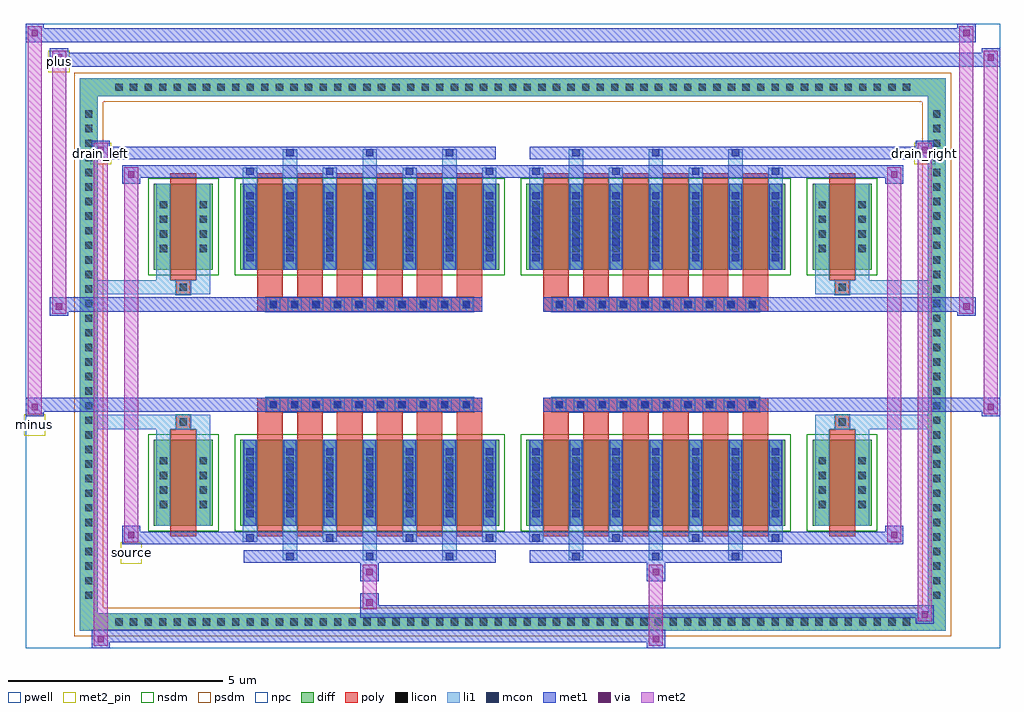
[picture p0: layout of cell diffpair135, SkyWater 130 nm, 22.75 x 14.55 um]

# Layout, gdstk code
import gdstk
lib = gdstk.Library(unit=1e-6, precision=5e-09)
def R(c, l, rs):  # rectangles x0, y0, x1, y1
    for r in rs: c.add(gdstk.rectangle(r[:2], r[2:], *l))
def A(c, l, x, y, w, h, nx, ny, dx, dy):  # array of equal rectangles
    R(c, l, [(x+i*dx, y+j*dy, x+i*dx+w, y+j*dy+h) for i in range(nx) for j in range(ny)])
def P(c, l, *ps):  # polygons
    for p in ps: c.add(gdstk.Polygon(p, *l))
pwell = (64, 44)
diff = (65, 20)
poly = (66, 20)
licon = (66, 44)
li1 = (67, 20)
mcon = (67, 44)
met1 = (68, 20)
via = (68, 44)
met2_pin = (69, 16)
met2 = (69, 20)
nsdm = (93, 44)
psdm = (94, 20)
npc = (95, 20)

diffpair135 = lib.new_cell('diffpair135')
R(diffpair135, pwell, [(-11.36,-6.84,11.36,7.71), (-8.68,-5.03,-0.01,-0.805), (0.01,-5.03,8.68,-0.805), (-8.68,0.805,-0.01,5.03), (0.01,0.805,8.68,5.03)])
A(diffpair135, diff, -9.385, -6.44, 0.41, 0.41, 55, 2, 0.34, 12.47)
A(diffpair135, diff, -10.09, -5.815, 0.41, 0.41, 1, 34, 0, 0.34)
A(diffpair135, diff, 9.68, -5.815, 0.41, 0.41, 1, 34, 0, 0.34)
R(diffpair135, diff, [(-9.385,-6.44,9.385,-6.03), (-10.09,-5.815,-9.68,5.815), (9.68,-5.815,10.09,5.815), (-8.37,-3.985,-6.99,-1.985), (-6.35,-3.985,-0.32,-1.985), (0.32,-3.985,6.35,-1.985), (6.99,-3.985,8.37,-1.985), (-8.37,1.985,-6.99,3.985), (-6.35,1.985,-0.32,3.985), (0.32,1.985,6.35,3.985), (6.99,1.985,8.37,3.985), (-9.385,6.03,9.385,6.44)])
P(diffpair135, diff, [(10.09,6.44),(-10.09,6.44),(-10.09,-6.03),(-9.68,-6.03),(-9.68,6.03),(9.68,6.03),(9.68,-6.03),(-9.68,-6.03),(-10.09,-6.03),(-10.09,-6.44),(10.09,-6.44)])
A(diffpair135, poly, -5.96, -4.235, 0.6, 2.5, 6, 2, 0.93, 5.97)
A(diffpair135, poly, 0.71, -4.235, 0.6, 2.5, 6, 2, 0.93, 5.97)
A(diffpair135, poly, -5.96, -1.735, 0.6, 0.4, 6, 2, 0.93, 3.07)
A(diffpair135, poly, 0.71, -1.735, 0.6, 0.4, 6, 2, 0.93, 3.07)
A(diffpair135, poly, -5.75, -1.335, 0.33, 0.33, 10, 2, 0.5, 2.34)
A(diffpair135, poly, 0.92, -1.335, 0.33, 0.33, 10, 2, 0.5, 2.34)
R(diffpair135, poly, [(-7.98,-4.235,-7.38,-1.735), (7.38,-4.235,7.98,-1.735), (-7.845,-1.735,-7.515,-1.405), (-7.845,-1.735,-7.515,-1.405), (7.515,-1.735,7.845,-1.405), (7.515,-1.735,7.845,-1.405), (-5.96,-1.335,-0.71,-1.005), (0.71,-1.335,5.96,-1.005), (-5.96,1.005,-0.71,1.335), (0.71,1.005,5.96,1.335), (-7.845,1.405,-7.515,1.735), (-7.845,1.405,-7.515,1.735), (7.515,1.405,7.845,1.735), (7.515,1.405,7.845,1.735), (-7.98,1.735,-7.38,4.235), (7.38,1.735,7.98,4.235)])
A(diffpair135, licon, -9.265, -6.32, 0.17, 0.17, 55, 2, 0.34, 12.47)
A(diffpair135, licon, -9.97, -5.695, 0.17, 0.17, 1, 34, 0, 0.34)
A(diffpair135, licon, 9.8, -5.695, 0.17, 0.17, 1, 34, 0, 0.34)
A(diffpair135, licon, -8.23, -3.58, 0.17, 0.17, 1, 4, 0, 0.34)
A(diffpair135, licon, -7.3, -3.58, 0.17, 0.17, 1, 4, 0, 0.34)
A(diffpair135, licon, -6.21, -3.58, 0.17, 0.17, 7, 4, 0.93, 0.34)
A(diffpair135, licon, 0.46, -3.58, 0.17, 0.17, 7, 4, 0.93, 0.34)
A(diffpair135, licon, 7.13, -3.58, 0.17, 0.17, 1, 4, 0, 0.34)
A(diffpair135, licon, 8.06, -3.58, 0.17, 0.17, 1, 4, 0, 0.34)
A(diffpair135, licon, -5.67, -1.255, 0.17, 0.17, 10, 2, 0.5, 2.34)
A(diffpair135, licon, 1, -1.255, 0.17, 0.17, 10, 2, 0.5, 2.34)
A(diffpair135, licon, -8.23, 2.39, 0.17, 0.17, 1, 4, 0, 0.34)
A(diffpair135, licon, -7.3, 2.39, 0.17, 0.17, 1, 4, 0, 0.34)
A(diffpair135, licon, -6.21, 2.39, 0.17, 0.17, 7, 4, 0.93, 0.34)
A(diffpair135, licon, 0.46, 2.39, 0.17, 0.17, 7, 4, 0.93, 0.34)
A(diffpair135, licon, 7.13, 2.39, 0.17, 0.17, 1, 4, 0, 0.34)
A(diffpair135, licon, 8.06, 2.39, 0.17, 0.17, 1, 4, 0, 0.34)
R(diffpair135, licon, [(-7.765,-1.655,-7.595,-1.485), (7.595,-1.655,7.765,-1.485), (-7.765,1.485,-7.595,1.655), (7.595,1.485,7.765,1.655)])
A(diffpair135, li1, -9.345, -6.4, 0.33, 0.33, 55, 2, 0.34, 12.47)
A(diffpair135, li1, -10.05, -5.775, 0.33, 0.33, 1, 34, 0, 0.34)
A(diffpair135, li1, 9.72, -5.775, 0.33, 0.33, 1, 34, 0, 0.34)
A(diffpair135, li1, -5.36, -4.79, 0.33, 0.805, 3, 2, 1.86, 8.775)
A(diffpair135, li1, -5.28, -4.79, 0.17, 0.17, 3, 2, 1.86, 9.41)
A(diffpair135, li1, 1.31, -4.79, 0.33, 0.805, 3, 2, 1.86, 8.775)
A(diffpair135, li1, 1.39, -4.79, 0.17, 0.17, 3, 2, 1.86, 9.41)
A(diffpair135, li1, -6.29, -4.36, 0.33, 0.375, 4, 2, 1.86, 8.345)
A(diffpair135, li1, -6.21, -4.36, 0.17, 0.17, 4, 2, 1.86, 8.55)
A(diffpair135, li1, 0.38, -4.36, 0.33, 0.375, 4, 2, 1.86, 8.345)
A(diffpair135, li1, 0.46, -4.36, 0.17, 0.17, 4, 2, 1.86, 8.55)
A(diffpair135, li1, -6.29, -3.985, 0.33, 2, 7, 2, 0.93, 5.97)
A(diffpair135, li1, 0.38, -3.985, 0.33, 2, 7, 2, 0.93, 5.97)
A(diffpair135, li1, -6.21, -3.79, 0.17, 0.17, 7, 5, 0.93, 0.36)
A(diffpair135, li1, -6.21, -3.79, 0.17, 1.61, 7, 2, 0.93, 5.97)
A(diffpair135, li1, 0.46, -3.79, 0.17, 0.17, 7, 5, 0.93, 0.36)
A(diffpair135, li1, 0.46, -3.79, 0.17, 1.61, 7, 2, 0.93, 5.97)
A(diffpair135, li1, -8.31, -3.66, 0.33, 0.33, 1, 4, 0, 0.34)
A(diffpair135, li1, -7.38, -3.66, 0.33, 0.33, 1, 4, 0, 0.34)
A(diffpair135, li1, -6.29, -3.66, 0.33, 0.33, 7, 4, 0.93, 0.34)
A(diffpair135, li1, 0.38, -3.66, 0.33, 0.33, 7, 4, 0.93, 0.34)
A(diffpair135, li1, 7.05, -3.66, 0.33, 0.33, 1, 4, 0, 0.34)
A(diffpair135, li1, 7.98, -3.66, 0.33, 0.33, 1, 4, 0, 0.34)
A(diffpair135, li1, -5.75, -1.335, 0.33, 0.33, 10, 2, 0.5, 2.34)
A(diffpair135, li1, 0.92, -1.335, 0.33, 0.33, 10, 2, 0.5, 2.34)
A(diffpair135, li1, -6.21, 2.18, 0.17, 0.17, 7, 5, 0.93, 0.36)
A(diffpair135, li1, 0.46, 2.18, 0.17, 0.17, 7, 5, 0.93, 0.36)
A(diffpair135, li1, -8.31, 2.31, 0.33, 0.33, 1, 4, 0, 0.34)
A(diffpair135, li1, -7.38, 2.31, 0.33, 0.33, 1, 4, 0, 0.34)
A(diffpair135, li1, -6.29, 2.31, 0.33, 0.33, 7, 4, 0.93, 0.34)
A(diffpair135, li1, 0.38, 2.31, 0.33, 0.33, 7, 4, 0.93, 0.34)
A(diffpair135, li1, 7.05, 2.31, 0.33, 0.33, 1, 4, 0, 0.34)
A(diffpair135, li1, 7.98, 2.31, 0.33, 0.33, 1, 4, 0, 0.34)
R(diffpair135, li1, [(-10.09,-6.44,-9.68,-6.03), (-10.09,-6.44,-9.68,-6.03), (-9.68,-6.44,9.68,-6.03), (9.68,-6.44,10.09,-6.03), (9.68,-6.44,10.09,-6.03), (-10.09,-6.03,-9.68,6.03), (9.68,-6.03,10.09,6.03), (-8.31,-3.985,-7.98,-1.985), (-7.38,-3.985,-7.05,-1.985), (7.05,-3.985,7.38,-1.985), (7.98,-3.985,8.31,-1.985), (-8.31,-1.985,-7.98,-1.405), (-7.38,-1.985,-7.05,-1.405), (7.05,-1.985,7.38,-1.405), (7.98,-1.985,8.31,-1.405), (-10.09,-1.735,-7.845,-1.405), (-8.31,-1.735,-7.845,-1.405), (-7.845,-1.735,-7.515,-1.405), (-7.515,-1.735,-7.05,-1.405), (7.05,-1.735,7.515,-1.405), (7.515,-1.735,7.845,-1.405), (7.515,-1.735,10.09,-1.405), (7.845,-1.735,8.31,-1.405), (-10.09,1.405,-7.845,1.735), (-8.31,1.405,-7.845,1.735), (-8.31,1.405,-7.98,1.985), (-7.845,1.405,-7.515,1.735), (-7.515,1.405,-7.05,1.735), (-7.38,1.405,-7.05,1.985), (7.05,1.405,7.515,1.735), (7.05,1.405,7.38,1.985), (7.515,1.405,7.845,1.735), (7.515,1.405,10.09,1.735), (7.845,1.405,8.31,1.735), (7.98,1.405,8.31,1.985), (-8.31,1.985,-7.98,3.985), (-7.38,1.985,-7.05,3.985), (7.05,1.985,7.38,3.985), (7.98,1.985,8.31,3.985), (-10.09,6.03,-9.68,6.44), (-10.09,6.03,-9.68,6.44), (-9.68,6.03,9.68,6.44), (9.68,6.03,10.09,6.44), (9.68,6.03,10.09,6.44)])
A(diffpair135, mcon, -5.28, -4.79, 0.17, 0.17, 3, 2, 1.86, 9.41)
A(diffpair135, mcon, 1.39, -4.79, 0.17, 0.17, 3, 2, 1.86, 9.41)
A(diffpair135, mcon, -6.21, -4.36, 0.17, 0.17, 4, 2, 1.86, 8.55)
A(diffpair135, mcon, 0.46, -4.36, 0.17, 0.17, 4, 2, 1.86, 8.55)
A(diffpair135, mcon, -6.21, -3.79, 0.17, 0.17, 7, 5, 0.93, 0.36)
A(diffpair135, mcon, 0.46, -3.79, 0.17, 0.17, 7, 5, 0.93, 0.36)
A(diffpair135, mcon, -5.67, -1.255, 0.17, 0.17, 10, 2, 0.5, 2.34)
A(diffpair135, mcon, 1, -1.255, 0.17, 0.17, 10, 2, 0.5, 2.34)
A(diffpair135, mcon, -6.21, 2.18, 0.17, 0.17, 7, 5, 0.93, 0.36)
A(diffpair135, mcon, 0.46, 2.18, 0.17, 0.17, 7, 5, 0.93, 0.36)
A(diffpair135, met1, -5.34, -4.85, 0.29, 0.29, 3, 2, 1.86, 9.41)
A(diffpair135, met1, 1.33, -4.85, 0.29, 0.29, 3, 2, 1.86, 9.41)
A(diffpair135, met1, -6.27, -4.42, 0.29, 0.29, 4, 2, 1.86, 8.55)
A(diffpair135, met1, 0.4, -4.42, 0.29, 0.29, 4, 2, 1.86, 8.55)
A(diffpair135, met1, -6.27, -3.985, 0.29, 2, 7, 2, 0.93, 5.97)
A(diffpair135, met1, 0.4, -3.985, 0.29, 2, 7, 2, 0.93, 5.97)
A(diffpair135, met1, -6.27, -3.85, 0.29, 0.29, 7, 5, 0.93, 0.36)
A(diffpair135, met1, 0.4, -3.85, 0.29, 0.29, 7, 5, 0.93, 0.36)
A(diffpair135, met1, -5.73, -1.315, 0.29, 0.29, 10, 2, 0.5, 2.34)
A(diffpair135, met1, 0.94, -1.315, 0.29, 0.29, 10, 2, 0.5, 2.34)
A(diffpair135, met1, -6.27, 2.12, 0.29, 0.29, 7, 5, 0.93, 0.36)
A(diffpair135, met1, 0.4, 2.12, 0.29, 0.29, 7, 5, 0.93, 0.36)
R(diffpair135, met1, [(-9.82,-6.84,-9.39,-6.41), (3.12,-6.84,3.55,-6.41), (-9.82,-6.7,3.55,-6.41), (9.39,-6.27,9.82,-5.84), (-3.55,-6.13,9.82,-5.84), (-3.55,-5.99,-3.12,-5.56), (-3.55,-5.28,-3.12,-4.85), (3.12,-5.28,3.55,-4.85), (-6.27,-4.85,-0.4,-4.56), (0.4,-4.85,6.27,-4.56), (-9.11,-4.42,-8.68,-3.99), (-9.11,-4.42,-6.27,-4.13), (-6.27,-4.42,-0.4,-4.13), (-0.4,-4.42,0.4,-4.13), (0.4,-4.42,6.27,-4.13), (6.27,-4.42,9.11,-4.13), (8.68,-4.42,9.11,-3.99), (-11.36,-1.435,-10.93,-1.005), (10.93,-1.435,11.36,-1.005), (-11.36,-1.335,-0.71,-1.005), (-5.96,-1.335,-0.71,-1.005), (0.71,-1.335,5.96,-1.005), (0.71,-1.335,11.36,-1.005), (-10.79,0.905,-10.36,1.335), (10.36,0.905,10.79,1.335), (-10.79,1.005,-5.96,1.335), (-5.96,1.005,-0.71,1.335), (0.71,1.005,5.96,1.335), (5.96,1.005,10.79,1.335), (-9.11,3.99,-8.68,4.42), (8.68,3.99,9.11,4.42), (-9.11,4.13,-6.27,4.42), (-6.27,4.13,-0.4,4.42), (-0.4,4.13,0.4,4.42), (0.4,4.13,6.27,4.42), (6.27,4.13,9.11,4.42), (-9.82,4.56,-9.39,4.99), (-9.82,4.56,-6.27,4.85), (-6.27,4.56,-0.4,4.85), (0.4,4.56,6.27,4.85), (6.27,4.56,9.82,4.85), (9.39,4.56,9.82,4.99), (-10.79,6.71,-10.36,7.14), (-10.79,6.71,-8.68,7.04), (-8.68,6.71,8.68,7.04), (8.68,6.71,11.36,7.04), (10.93,6.71,11.36,7.14), (-11.36,7.28,-10.93,7.71), (-11.36,7.28,-8.68,7.61), (-8.68,7.28,8.68,7.61), (8.68,7.28,10.79,7.61), (10.36,7.28,10.79,7.71)])
R(diffpair135, via, [(-9.68,-6.7,-9.53,-6.55), (3.26,-6.7,3.41,-6.55), (9.53,-6.13,9.68,-5.98), (-3.41,-5.85,-3.26,-5.7), (-3.41,-5.14,-3.26,-4.99), (3.26,-5.14,3.41,-4.99), (-8.97,-4.28,-8.82,-4.13), (8.82,-4.28,8.97,-4.13), (-11.22,-1.295,-11.07,-1.145), (11.07,-1.295,11.22,-1.145), (-10.65,1.045,-10.5,1.195), (10.5,1.045,10.65,1.195), (-8.97,4.13,-8.82,4.28), (8.82,4.13,8.97,4.28), (-9.68,4.7,-9.53,4.85), (9.53,4.7,9.68,4.85), (-10.65,6.85,-10.5,7), (11.07,6.85,11.22,7), (-11.22,7.42,-11.07,7.57), (10.5,7.42,10.65,7.57)])
R(diffpair135, met2_pin, [(-9.145,-4.87,-8.645,-4.37), (-11.395,-1.885,-10.895,-1.385), (-9.855,4.44,-9.355,4.94), (9.355,4.44,9.855,4.94), (-10.825,6.59,-10.325,7.09)])
R(diffpair135, met2, [(-9.77,-6.79,-9.44,-6.46), (-9.77,-6.79,-9.44,4.94), (3.17,-6.79,3.5,-6.46), (3.17,-6.46,3.5,-5.23), (9.44,-6.22,9.77,-5.89), (9.44,-6.22,9.77,4.94), (-3.5,-5.94,-3.17,-5.61), (-3.5,-5.61,-3.17,-5.23), (-3.5,-5.23,-3.17,-4.9), (3.17,-5.23,3.5,-4.9), (-9.06,-4.37,-8.73,-4.04), (-9.06,-4.37,-8.73,4.37), (8.73,-4.37,9.06,-4.04), (8.73,-4.37,9.06,4.37), (-11.31,-1.385,-10.98,-1.055), (-11.31,-1.385,-10.98,7.66), (10.98,-1.385,11.31,-1.055), (10.98,-1.385,11.31,7.09), (-10.74,0.955,-10.41,1.285), (-10.74,0.955,-10.41,7.09), (10.41,0.955,10.74,1.285), (10.41,0.955,10.74,7.66), (-9.06,4.04,-8.73,4.37), (8.73,4.04,9.06,4.37), (-9.77,4.61,-9.44,4.94), (9.44,4.61,9.77,4.94), (-10.74,6.76,-10.41,7.09), (10.98,6.76,11.31,7.09), (-11.31,7.33,-10.98,7.66), (10.41,7.33,10.74,7.66)])
P(diffpair135, met2, [(11.31,-1.385),(11.31,-1.385),(11.31,-1.055),(11.31,-1.055)],
  [(11.31,6.76),(11.31,6.76),(11.31,7.09),(11.31,7.09)],
  [(-10.98,-1.385),(-10.98,-1.385),(-10.98,-1.055),(-10.98,-1.055)],
  [(-10.98,7.33),(-10.98,7.33),(-10.98,7.66),(-10.98,7.66)],
  [(10.74,0.955),(10.74,0.955),(10.74,1.285),(10.74,1.285)],
  [(10.74,7.33),(10.74,7.33),(10.74,7.66),(10.74,7.66)],
  [(-10.41,0.955),(-10.41,0.955),(-10.41,1.285),(-10.41,1.285)],
  [(-10.41,6.76),(-10.41,6.76),(-10.41,7.09),(-10.41,7.09)],
  [(-9.44,-6.79),(-9.44,-6.79),(-9.44,-6.46),(-9.44,-6.46)],
  [(-9.44,4.61),(-9.44,4.61),(-9.44,4.94),(-9.44,4.94)],
  [(9.77,-6.22),(9.77,-6.22),(9.77,-5.89),(9.77,-5.89)],
  [(9.77,4.61),(9.77,4.61),(9.77,4.94),(9.77,4.94)],
  [(-8.73,-4.37),(-8.73,-4.37),(-8.73,-4.04),(-8.73,-4.04)],
  [(-8.73,4.04),(-8.73,4.04),(-8.73,4.37),(-8.73,4.37)],
  [(9.06,-4.37),(9.06,-4.37),(9.06,-4.04),(9.06,-4.04)],
  [(9.06,4.04),(9.06,4.04),(9.06,4.37),(9.06,4.37)])
R(diffpair135, nsdm, [(-8.5,-4.115,-6.86,-1.855), (-6.48,-4.115,-0.19,-1.855), (0.19,-4.115,6.48,-1.855), (6.86,-4.115,8.5,-1.855), (-8.5,1.855,-6.86,4.115), (-6.48,1.855,-0.19,4.115), (0.19,1.855,6.48,4.115), (6.86,1.855,8.5,4.115)])
P(diffpair135, psdm, [(10.22,6.57),(-10.22,6.57),(-10.22,-5.9),(-9.55,-5.9),(-9.55,5.9),(9.55,5.9),(9.55,-5.9),(-9.55,-5.9),(-10.22,-5.9),(-10.22,-6.57),(10.22,-6.57)])
A(diffpair135, npc, -5.77, -1.355, 0.37, 0.37, 10, 2, 0.5, 2.34)
A(diffpair135, npc, 0.9, -1.355, 0.37, 0.37, 10, 2, 0.5, 2.34)
R(diffpair135, npc, [(-7.865,-1.755,-7.495,-1.385), (7.495,-1.755,7.865,-1.385), (-5.77,-1.355,-4.9,-0.985), (-5.77,-1.355,-4.9,-0.985), (-5.27,-1.355,-4.4,-0.985), (-5.27,-1.355,-4.4,-0.985), (-4.77,-1.355,-3.9,-0.985), (-4.77,-1.355,-3.9,-0.985), (-4.27,-1.355,-3.4,-0.985), (-4.27,-1.355,-3.4,-0.985), (-3.77,-1.355,-2.9,-0.985), (-3.77,-1.355,-2.9,-0.985), (-3.27,-1.355,-2.4,-0.985), (-3.27,-1.355,-2.4,-0.985), (-2.77,-1.355,-1.9,-0.985), (-2.77,-1.355,-1.9,-0.985), (-2.27,-1.355,-1.4,-0.985), (-2.27,-1.355,-1.4,-0.985), (-1.77,-1.355,-0.9,-0.985), (-1.77,-1.355,-0.9,-0.985), (0.9,-1.355,1.77,-0.985), (0.9,-1.355,1.77,-0.985), (1.4,-1.355,2.27,-0.985), (1.4,-1.355,2.27,-0.985), (1.9,-1.355,2.77,-0.985), (1.9,-1.355,2.77,-0.985), (2.4,-1.355,3.27,-0.985), (2.4,-1.355,3.27,-0.985), (2.9,-1.355,3.77,-0.985), (2.9,-1.355,3.77,-0.985), (3.4,-1.355,4.27,-0.985), (3.4,-1.355,4.27,-0.985), (3.9,-1.355,4.77,-0.985), (3.9,-1.355,4.77,-0.985), (4.4,-1.355,5.27,-0.985), (4.4,-1.355,5.27,-0.985), (4.9,-1.355,5.77,-0.985), (4.9,-1.355,5.77,-0.985), (-5.77,0.985,-4.9,1.355), (-5.77,0.985,-4.9,1.355), (-5.27,0.985,-4.4,1.355), (-5.27,0.985,-4.4,1.355), (-4.77,0.985,-3.9,1.355), (-4.77,0.985,-3.9,1.355), (-4.27,0.985,-3.4,1.355), (-4.27,0.985,-3.4,1.355), (-3.77,0.985,-2.9,1.355), (-3.77,0.985,-2.9,1.355), (-3.27,0.985,-2.4,1.355), (-3.27,0.985,-2.4,1.355), (-2.77,0.985,-1.9,1.355), (-2.77,0.985,-1.9,1.355), (-2.27,0.985,-1.4,1.355), (-2.27,0.985,-1.4,1.355), (-1.77,0.985,-0.9,1.355), (-1.77,0.985,-0.9,1.355), (0.9,0.985,1.77,1.355), (0.9,0.985,1.77,1.355), (1.4,0.985,2.27,1.355), (1.4,0.985,2.27,1.355), (1.9,0.985,2.77,1.355), (1.9,0.985,2.77,1.355), (2.4,0.985,3.27,1.355), (2.4,0.985,3.27,1.355), (2.9,0.985,3.77,1.355), (2.9,0.985,3.77,1.355), (3.4,0.985,4.27,1.355), (3.4,0.985,4.27,1.355), (3.9,0.985,4.77,1.355), (3.9,0.985,4.77,1.355), (4.4,0.985,5.27,1.355), (4.4,0.985,5.27,1.355), (4.9,0.985,5.77,1.355), (4.9,0.985,5.77,1.355), (-7.865,1.385,-7.495,1.755), (7.495,1.385,7.865,1.755)])
diffpair135.add(gdstk.Label('minus', (-11.145,-1.635), layer=69, texttype=5))
diffpair135.add(gdstk.Label('drain_right', (9.605,4.69), layer=69, texttype=5))
diffpair135.add(gdstk.Label('drain_left', (-9.605,4.69), layer=69, texttype=5))
diffpair135.add(gdstk.Label('source', (-8.895,-4.62), layer=69, texttype=5))
diffpair135.add(gdstk.Label('plus', (-10.575,6.84), layer=69, texttype=5))

lib.write_gds('diffpair135.gds')
